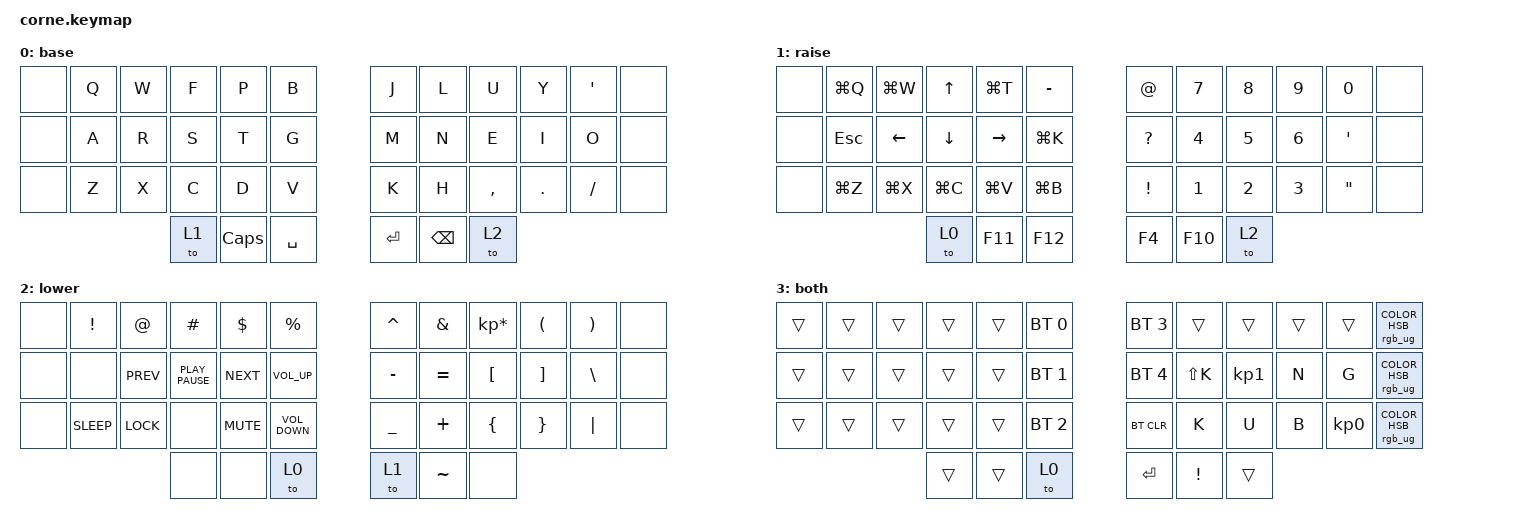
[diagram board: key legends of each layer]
/*
 * Copyright (c) 2020 The ZMK Contributors
 *
 * SPDX-License-Identifier: MIT
 */

#include <behaviors.dtsi>
#include <dt-bindings/zmk/bt.h>
#include <dt-bindings/zmk/keys.h>
#include <dt-bindings/zmk/rgb.h>

// dt-formatter: indent = "  "
// dt-formatter: reindentMultilineIntegerCells = "dedent"

/ {
  behaviors {
    hm: homerow_mods {
      compatible = "zmk,behavior-hold-tap";
      label = "HOMEROW_MODS";
      #binding-cells = <2>;
      tapping-term-ms = <150>;
      quick-tap-ms = <0>;
      flavor = "tap-preferred";
      bindings =
        <&kp>,
        <&kp>;
    };
  };

  combos {
    compatible = "zmk,combos";

    tab {
      bindings = <&trans>;
      key-positions = <2 3>;
    };

    ctrl {
      bindings = <&kp LCTRL>;
      key-positions = <26 27>;
    };

    cmd {
      bindings = <&kp LCMD>;
      key-positions = <37 38>;
    };

    alt {
      bindings = <&kp LEFT_ALT>;
      key-positions = <39 40>;
    };

    shift {
      bindings = <&kp LSHIFT>;
      key-positions = <8 9>;
    };

    caps_word {
      bindings = <&caps_word>;
      key-positions = <17 18>;
    };

    delete {
      bindings = <&kp DEL>;
      key-positions = <32 33>;
    };

    new_combo {
      bindings = <&tog 3>;
      key-positions = <38 39>;
      layers = <3>;
    };
  };

  macros {
    zed_em_kay: zed_em_kay {
      compatible = "zmk,behavior-macro";
      label = "ZM_zed_em_kay";
      #binding-cells = <0>;
      bindings =
        <&macro_press>,
        <&kp LSHFT>,
        <&macro_tap>,
        <&kp Z &kp M &kp K>,
        <&macro_release>,
        <&kp LSHFT>;
    };
  };

  keymap {
    compatible = "zmk,keymap";

    base {
      bindings = <
&none  &kp Q  &kp W  &kp F         &kp P      &kp B      &kp J          &kp L      &kp U    &kp Y   &kp SQT  &none
&none  &kp A  &kp R  &kp S         &kp T      &kp G      &kp M          &kp N      &kp E    &kp I     &kp O  &none
&none  &kp Z  &kp X  &kp C         &kp D      &kp V      &kp K          &kp H  &kp COMMA  &kp DOT  &kp FSLH  &none
                     &to 1  &kp CAPSLOCK  &kp SPACE    &kp RET  &kp BACKSPACE      &to 2
      >;
    };

    raise {
      bindings = <
&none  &kp LG(Q)  &kp LG(W)     &kp UP  &kp LG(T)  &kp MINUS        &kp AT_SIGN        &kp N7        &kp N8        &kp N9   &kp N0  &none
&none    &kp ESC   &kp LEFT   &kp DOWN  &kp RIGHT  &kp LG(K)       &kp QUESTION  &kp NUMBER_4  &kp NUMBER_5  &kp NUMBER_6  &kp SQT  &none
&none  &kp LG(Z)  &kp LG(X)  &kp LG(C)  &kp LG(V)  &kp LG(B)    &kp EXCLAMATION  &kp NUMBER_1  &kp NUMBER_2  &kp NUMBER_3  &kp DQT  &none
                                 &to 0    &kp F11    &kp F12             &kp F4       &kp F10         &to 2
      >;
    };

    lower {
      bindings = <
&none     &kp EXCL      &kp AT          &kp HASH    &kp DLLR          &kp PRCNT    &kp CARET   &kp AMPS  &kp KP_MULTIPLY  &kp LPAR  &kp RPAR  &none
&none        &none  &kp K_PREV  &kp K_PLAY_PAUSE  &kp K_NEXT    &kp K_VOLUME_UP    &kp MINUS  &kp EQUAL         &kp LBKT  &kp RBKT  &kp BSLH  &none
&none  &kp K_SLEEP  &kp K_LOCK             &none  &kp K_MUTE  &kp K_VOLUME_DOWN    &kp UNDER   &kp PLUS         &kp LBRC  &kp RBRC  &kp PIPE  &none
                                           &none       &none              &to 0        &to 1  &kp TILDE            &none
      >;
    };

    both {
      bindings = <
&trans  &trans  &trans  &trans  &trans  &bt BT_SEL 0    &bt BT_SEL 3           &trans           &trans  &trans           &trans    &rgb_ug RGB_COLOR_HSB(0,60,50)
&trans  &trans  &trans  &trans  &trans  &bt BT_SEL 1    &bt BT_SEL 4        &kp LS(K)  &kp KP_NUMBER_1   &kp N            &kp G  &rgb_ug RGB_COLOR_HSB(120,60,50)
&trans  &trans  &trans  &trans  &trans  &bt BT_SEL 2      &bt BT_CLR            &kp K            &kp U   &kp B  &kp KP_NUMBER_0  &rgb_ug RGB_COLOR_HSB(240,60,50)
                        &trans  &trans         &to 0       &kp ENTER  &kp EXCLAMATION           &trans
      >;
    };
  };
};
